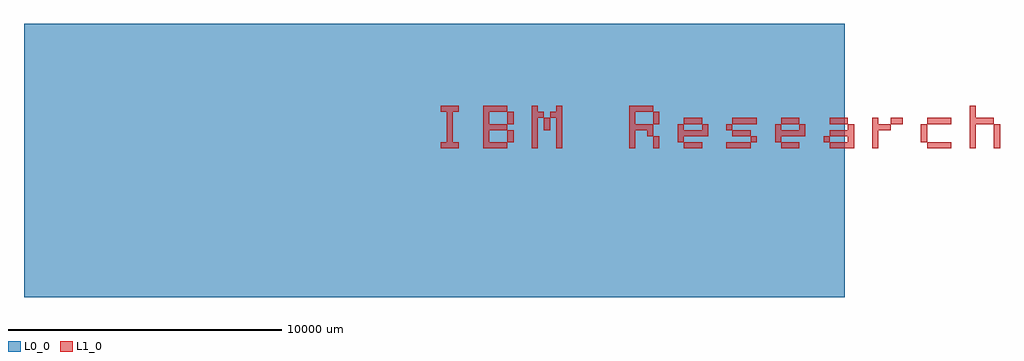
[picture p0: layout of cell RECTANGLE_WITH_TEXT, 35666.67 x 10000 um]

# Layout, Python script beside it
import gdspy

# Create a new GDSII library
lib = gdspy.GdsLibrary()

# Define the cell for the layout
cell = lib.new_cell('RECTANGLE_WITH_TEXT')

# Rectangle dimensions
width = 30000
height = 10000

# Create a rectangle on layer 0
rectangle = gdspy.Rectangle((0, 0), (width, height), layer=0)
cell.add(rectangle)

# Text properties
text_string = "IBM Research"
text_size = 2000  # Adjust text size as needed to fit within the rectangle
text_layer = 1

# Calculate text position to center it in the rectangle
text_position = (width / 2, height / 2)

# Create the text label
text = gdspy.Text(text_string, text_size, text_position, layer=text_layer)
cell.add(text)

# Save the layout to a GDS file
lib.write_gds('rectangle_with_text.gds')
